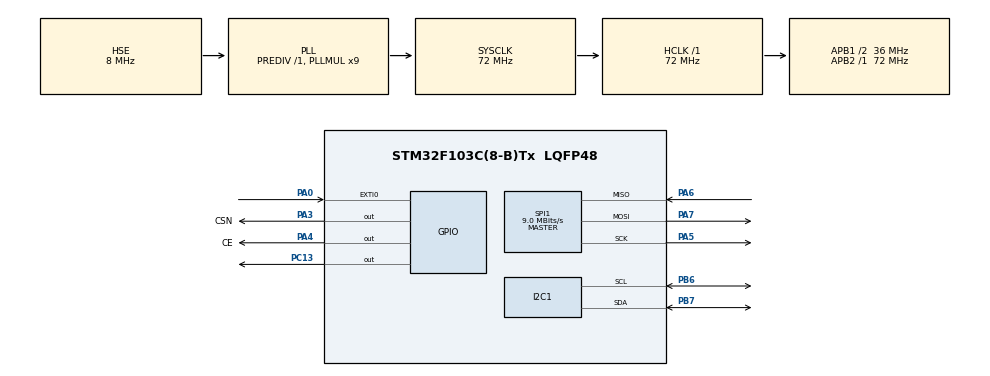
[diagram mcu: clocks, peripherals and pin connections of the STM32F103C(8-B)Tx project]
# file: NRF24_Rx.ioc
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I2C1.I2C_Mode=I2C_Fast
Mcu.Family=STM32F1
Mcu.Name=STM32F103C(8-B)Tx
Mcu.Package=LQFP48
NVIC.EXTI0_IRQn=true\:0\:0\:false\:false\:true\:true\:true\:true
NVIC.PriorityGroup=NVIC_PRIORITYGROUP_4
NVIC.SPI1_IRQn=true\:0\:0\:false\:false\:true\:true\:true\:true
NVIC.TIM2_IRQn=true\:0\:0\:false\:false\:true\:true\:true\:true
PA0-WKUP.GPIO_ModeDefaultEXTI=GPIO_MODE_IT_FALLING
PA0-WKUP.Signal=GPXTI0
PA13.Mode=Serial_Wire
PA13.Signal=SYS_JTMS-SWDIO
PA14.Mode=Serial_Wire
PA14.Signal=SYS_JTCK-SWCLK
PA3.GPIO_Label=CSN
PA3.GPIO_Speed=GPIO_SPEED_FREQ_HIGH
PA3.PinState=GPIO_PIN_SET
PA3.Signal=GPIO_Output
PA4.GPIO_Label=CE
PA4.GPIO_Speed=GPIO_SPEED_FREQ_HIGH
PA4.Signal=GPIO_Output
PA5.Mode=Full_Duplex_Master
PA5.Signal=SPI1_SCK
PA6.Mode=Full_Duplex_Master
PA6.Signal=SPI1_MISO
PA7.Mode=Full_Duplex_Master
PA7.Signal=SPI1_MOSI
PB6.Mode=I2C
PB6.Signal=I2C1_SCL
PB7.Mode=I2C
PB7.Signal=I2C1_SDA
PC13-TAMPER-RTC.Signal=GPIO_Output
PD0-OSC_IN.Mode=HSE-External-Oscillator
PD0-OSC_IN.Signal=RCC_OSC_IN
PD1-OSC_OUT.Mode=HSE-External-Oscillator
PD1-OSC_OUT.Signal=RCC_OSC_OUT
ProjectManager.HeapSize=0x200
ProjectManager.StackSize=0x400
ProjectManager.TargetToolchain=STM32CubeIDE
RCC.AHBFreq_Value=72000000
RCC.APB1CLKDivider=RCC_HCLK_DIV2
RCC.APB1Freq_Value=36000000
RCC.APB1TimFreq_Value=72000000
RCC.APB2Freq_Value=72000000
RCC.APB2TimFreq_Value=72000000
RCC.HCLKFreq_Value=72000000
RCC.PLLMUL=RCC_PLL_MUL9
RCC.PLLSourceVirtual=RCC_PLLSOURCE_HSE
RCC.SYSCLKFreq_VALUE=72000000
RCC.SYSCLKSource=RCC_SYSCLKSOURCE_PLLCLK
RCC.USBFreq_Value=72000000
SPI1.BaudRatePrescaler=SPI_BAUDRATEPRESCALER_8
SPI1.CalculateBaudRate=9.0 MBits/s
SPI1.Direction=SPI_DIRECTION_2LINES
SPI1.Mode=SPI_MODE_MASTER
SPI1.VirtualType=VM_MASTER
TIM2.AutoReloadPreload=TIM_AUTORELOAD_PRELOAD_ENABLE
TIM2.Prescaler=71
VP_TIM2_VS_ClockSourceINT.Mode=Internal
board=custom

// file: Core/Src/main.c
/* USER CODE BEGIN Header */
/**
  ******************************************************************************
  * @file           : main.c
  * @brief          : Main program body - LIBRARY VERSION (TIMER BASED)
  ******************************************************************************
  */
/* USER CODE END Header */
#include "main.h"
#include "i2c.h"
#include "spi.h"
#include "tim.h"
#include "gpio.h"

/* USER CODE BEGIN Includes */
#include <string.h>
#include <stdio.h>
#include "NRF24.h"
#include "NRF24_reg_addresses.h"
#include "ssd1306.h"
#include "fonts.h"

/* USER CODE END Includes */

/* USER CODE BEGIN PV */

uint8_t rx_address[5] = {0xE7, 0xE7, 0xE7, 0xE7, 0xE7};

// CRC

// KLUCZ SZYFROWANIA (Może być dowolna liczba 0-255)
#define CRYPTO_KEY 0xA5

// Struktura pakietu (musi być identyczna w Tx i Rx)
// Rozmiar: 4 (temp) + 4 (id) + 2 (crc) = 10 bajtów
// Zmiana: dodane __attribute__((packed))
typedef struct __attribute__((packed)) {
    float temperature;
    uint32_t packet_id;
    uint16_t crc;
} RadioPacket;

RadioPacket myPacket;
uint8_t rx_data[32];

// Prosta funkcja szyfrująca/deszyfrująca (XOR)
void XOR_Cipher(uint8_t* data, uint16_t len) {
    for(int i=0; i<len; i++) {
        data[i] ^= CRYPTO_KEY;
    }
}

// CRC
uint16_t Calc_CRC(uint8_t* data, uint16_t len) {
    uint16_t sum = 0;
    for(int i=0; i<len; i++) {
        sum += data[i];
    }
    return sum;
}

/* USER CODE END PV */

void SystemClock_Config(void);

int main(void)
{

  /* MCU Configuration--------------------------------------------------------*/

  /* Reset of all peripherals, Initializes the Flash interface and the Systick. */
  HAL_Init();

  /* Configure the system clock */
  SystemClock_Config();

  /* Initialize all configured peripherals */
  MX_GPIO_Init();
  MX_SPI1_Init();
  MX_TIM2_Init();
  MX_I2C1_Init();
  /* USER CODE BEGIN 2 */

  // --- INICJALIZACJA OLED ---
    // Ekran 0.91" (128x32)
    ssd1306_Init(&hi2c1);
    ssd1306_Fill(Black);
    ssd1306_SetCursor(0, 0);
    ssd1306_WriteString("Oczekuje...", Font_11x18, White);
    ssd1306_UpdateScreen(&hi2c1);

  // --- INICJALIZACJA NRF24 ---
  csn_high();
  ce_high();
  HAL_Delay(100);

  nrf24_init();
  nrf24_tx_pwr(3);          // Max moc
  nrf24_data_rate(0);       // 1Mbps
  nrf24_set_channel(81);
  nrf24_set_addr_width(5);
  nrf24_open_rx_pipe(1, rx_address);
  nrf24_pipe_pld_size(1, sizeof(RadioPacket));
  memset(rx_data, 0, 32);
  nrf24_listen();      // Tryb nadajnika

  /* USER CODE END 2 */

  /* Infinite loop */
  /* USER CODE BEGIN WHILE */
  char oled_buf[32]; // Bufor pomocniczy do tworzenia napisów (sprintf)

  while (1)
    {
        // Sprawdź, czy coś przyszło
        if(nrf24_data_available())
        {
            // 1. Odbierz dane (zaszyfrowana struktura)
            nrf24_receive(rx_data, sizeof(RadioPacket));

            // 2. ODSZYFRUJ (XOR)
            // Przywracamy dane do formy czytelnej dla procesora
            XOR_Cipher(rx_data, sizeof(RadioPacket));

            // 3. Skopiuj surowe bajty do struktury, żeby mieć do nich łatwy dostęp
            memcpy(&myPacket, rx_data, sizeof(RadioPacket));

            // 4. Sprawdź Sumę Kontrolną (CRC)
            // Liczymy CRC z tego co odebraliśmy (bez ostatnich 2 bajtów, które są CRC)
            uint16_t calculated_crc = Calc_CRC((uint8_t*)&myPacket, sizeof(RadioPacket) - 2);

            ssd1306_Fill(Black);

            if (calculated_crc == myPacket.crc)
                      {
                          // --- DANE POPRAWNE ---
                          if(myPacket.temperature <= -900.0f) // Sprawdzenie błędu czujnika
                          {
                              ssd1306_SetCursor(0, 5);
                              ssd1306_WriteString("Sensor Error!", Font_11x18, White);
                          }
                          else
                          {
                              // Wyświetl ID pakietu
                              sprintf(oled_buf, "Pck: %lu", myPacket.packet_id);
                              ssd1306_SetCursor(0, 0);
                              ssd1306_WriteString(oled_buf, Font_7x10, White);

                              // Wyświetl Temperaturę
                              sprintf(oled_buf, "%.2f C", myPacket.temperature);
                              ssd1306_SetCursor(0, 12);
                              ssd1306_WriteString(oled_buf, Font_11x18, White);
                          }
                          HAL_GPIO_TogglePin(GPIOC, GPIO_PIN_13);
                      }
                      else
                      {
                          // --- BŁĄD CRC ---
                          ssd1306_SetCursor(0, 0);
                          ssd1306_WriteString("SEC ERROR", Font_7x10, White);

                          ssd1306_SetCursor(0, 12);
                          ssd1306_WriteString("Bad Key/CRC", Font_11x18, White);
                      }

                      // 5. Wyślij na ekran (tylko tutaj!)
                      ssd1306_UpdateScreen(&hi2c1);
                  }

                  HAL_Delay(1);
      /* USER CODE END WHILE */
    }
}

void SystemClock_Config(void)
{
  RCC_OscInitTypeDef RCC_OscInitStruct = {0};
  RCC_ClkInitTypeDef RCC_ClkInitStruct = {0};

  /** Initializes the RCC Oscillators according to the specified parameters
  * in the RCC_OscInitTypeDef structure.
  */
  RCC_OscInitStruct.OscillatorType = RCC_OSCILLATORTYPE_HSE;
  RCC_OscInitStruct.HSEState = RCC_HSE_ON;
  RCC_OscInitStruct.HSEPredivValue = RCC_HSE_PREDIV_DIV1;
  RCC_OscInitStruct.HSIState = RCC_HSI_ON;
  RCC_OscInitStruct.PLL.PLLState = RCC_PLL_ON;
  RCC_OscInitStruct.PLL.PLLSource = RCC_PLLSOURCE_HSE;
  RCC_OscInitStruct.PLL.PLLMUL = RCC_PLL_MUL9;
  if (HAL_RCC_OscConfig(&RCC_OscInitStruct) != HAL_OK)
  {
    Error_Handler();
  }

  /** Initializes the CPU, AHB and APB buses clocks
  */
  RCC_ClkInitStruct.ClockType = RCC_CLOCKTYPE_HCLK|RCC_CLOCKTYPE_SYSCLK
                              |RCC_CLOCKTYPE_PCLK1|RCC_CLOCKTYPE_PCLK2;
  RCC_ClkInitStruct.SYSCLKSource = RCC_SYSCLKSOURCE_PLLCLK;
  RCC_ClkInitStruct.AHBCLKDivider = RCC_SYSCLK_DIV1;
  RCC_ClkInitStruct.APB1CLKDivider = RCC_HCLK_DIV2;
  RCC_ClkInitStruct.APB2CLKDivider = RCC_HCLK_DIV1;

  if (HAL_RCC_ClockConfig(&RCC_ClkInitStruct, FLASH_LATENCY_2) != HAL_OK)
  {
    Error_Handler();
  }
}

void Error_Handler(void)
{
  __disable_irq();
  while (1)
  {
  }
}
